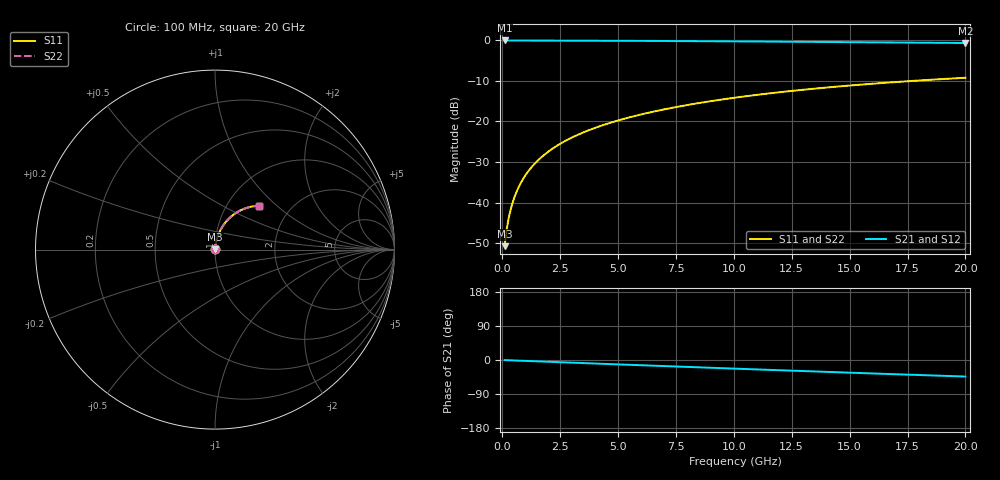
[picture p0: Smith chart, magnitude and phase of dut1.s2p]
! Touchstone file exported from HFSS 2026.1.0
!  File:  C:/ffzhzh/LocalFiles/Ansys_Project_Files/temp_val_TMRDL_1_1782902444_8056.aedt
!  Generated:  06:42:31 PM Jul  1, 2026
!  Design:  TMRDL
!  Project:  temp_val_TMRDL_1_1782902444_8056
! Variables:
!  h_bsmrdl = 2um
!  h_ox = 20um
!  h_rdl = 5um
!  h_sub = 80um
!  h_tmrdl = 5.97um
!  h_tsv = 80um
!  h_via = 3um
!  l_bsmrdl = 300um
!  l_sub = 1074.32um
!  l_tmrdl = 674.32um
!  m_sub = 200um
!  pitch = 53.6um
!  r_tsv = 6um
!  s_tmrdl = 10um
!  w_bsmrdl = 18um
!  w_sub = 500um
!  w_tmrdl = 26.95um
!  x_tsv_center1 = 687.795um
!  x_tsv_center2 = 1005.795um
!  x_tsv_center3 = 1707.065um
!  x_tsv_center4 = 2025.065um
!  x_tsv_center5 = 2726.335um
!  x_tsv_center6 = 3044.335um
# GHz S MA R 50.000000
! Terminal data exported
! Port[1] = TM_RDL1_1_T1
! Port[2] = TM_RDL1_1_T2
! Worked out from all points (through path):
!   200 points, 100 MHz to 20 GHz, reference 50 ohm
!   highest |S21| = -0.01 dB at 100 MHz (marker M1); lowest = -0.6 dB at 20 GHz (marker M2)
!   group delay of S21, straight-line fit = 6.06 ps
!   lowest |S11| = -50.8 dB at 100 MHz (marker M3), VSWR 1.01, Z = 50.2 + j0.235 ohm
!   |S11| at or under -10 dB: start of sweep to 17.7 GHz
!   |S22| runs from -50.8 to -9.2 dB; largest |S21 - S12| = 3.4e-15
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0.1  0.002892 54.0  0.9983 -0.2  0.9983 -0.2  0.002892 54.0
! Gamma 0 0 0 0
! Port Impedance 50 0 50 0
0.2  0.004886 67.4  0.9982 -0.5  0.9982 -0.5  0.004886 67.4
0.3  0.00693 73.1  0.9981 -0.7  0.9981 -0.7  0.00693 73.1
0.4  0.009006 76.3  0.998 -1.0  0.998 -1.0  0.009006 76.3
0.5  0.0111 78.2  0.9979 -1.2  0.9979 -1.2  0.0111 78.2
0.7  0.01533 80.3  0.9978 -1.7  0.9978 -1.7  0.01533 80.3
0.8  0.01745 80.9  0.9977 -1.9  0.9977 -1.9  0.01745 80.9
1  0.0217 81.6  0.9975 -2.4  0.9975 -2.4  0.0217 81.6
1.2  0.02593 81.8  0.9972 -2.8  0.9972 -2.8  0.02593 81.8
1.4  0.03015 81.8  0.997 -3.3  0.997 -3.3  0.03015 81.8
1.7  0.03645 81.6  0.9965 -4.0  0.9965 -4.0  0.03645 81.6
2  0.0427 81.2  0.996 -4.7  0.996 -4.7  0.0427 81.2
2.7  0.05709 80.0  0.9947 -6.3  0.9947 -6.3  0.05709 80.0
3.5  0.07325 78.5  0.993 -8.2  0.993 -8.2  0.07325 78.5
4.2  0.08716 77.1  0.9914 -9.8  0.9914 -9.8  0.08716 77.1
5  0.1028 75.4  0.9894 -11.6  0.9894 -11.6  0.1028 75.4
6.8  0.1373 71.8  0.9843 -15.6  0.9843 -15.6  0.1373 71.8
8.3  0.1652 68.6  0.9794 -19.0  0.9794 -19.0  0.1652 68.6
10.1  0.1974 64.9  0.9728 -23.0  0.9728 -23.0  0.1974 64.9
13.4  0.2526 58.0  0.9592 -30.1  0.9592 -30.1  0.2526 58.0
16.7  0.3023 51.3  0.9442 -37.0  0.9442 -37.0  0.3023 51.3
20  0.346 44.8  0.9288 -43.7  0.9288 -43.7  0.3461 44.8
